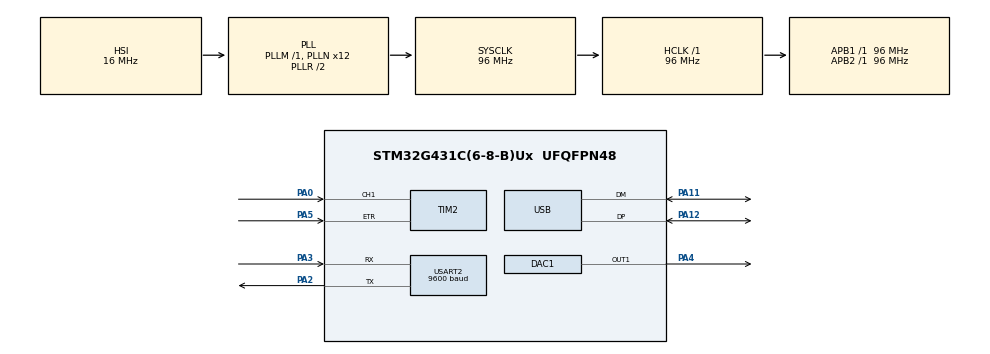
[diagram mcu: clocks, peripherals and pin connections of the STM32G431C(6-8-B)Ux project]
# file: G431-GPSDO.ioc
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Dma.Request0=USART2_RX
Dma.USART2_RX.0.Direction=DMA_PERIPH_TO_MEMORY
Dma.USART2_RX.0.EventEnable=DISABLE
Dma.USART2_RX.0.Instance=DMA1_Channel1
Dma.USART2_RX.0.MemDataAlignment=DMA_MDATAALIGN_BYTE
Dma.USART2_RX.0.MemInc=DMA_MINC_ENABLE
Dma.USART2_RX.0.Mode=DMA_CIRCULAR
Dma.USART2_RX.0.PeriphDataAlignment=DMA_PDATAALIGN_BYTE
Dma.USART2_RX.0.PeriphInc=DMA_PINC_DISABLE
Dma.USART2_RX.0.Polarity=HAL_DMAMUX_REQ_GEN_RISING
Dma.USART2_RX.0.Priority=DMA_PRIORITY_LOW
Dma.USART2_RX.0.RequestNumber=1
Dma.USART2_RX.0.SignalID=NONE
Dma.USART2_RX.0.SyncEnable=DISABLE
Dma.USART2_RX.0.SyncPolarity=HAL_DMAMUX_SYNC_NO_EVENT
Dma.USART2_RX.0.SyncRequestNumber=1
Dma.USART2_RX.0.SyncSignalID=NONE
Mcu.Family=STM32G4
Mcu.Name=STM32G431C(6-8-B)Ux
Mcu.Package=UFQFPN48
NVIC.DMA1_Channel1_IRQn=true\:0\:0\:false\:false\:true\:false\:true\:true
NVIC.PriorityGroup=NVIC_PRIORITYGROUP_4
NVIC.TIM2_IRQn=true\:0\:0\:false\:false\:true\:true\:true\:true
NVIC.USART2_IRQn=true\:0\:0\:false\:false\:true\:true\:true\:true
PA0.Signal=S_TIM2_CH1
PA11.Mode=Device
PA11.Signal=USB_DM
PA12.Mode=Device
PA12.Signal=USB_DP
PA13.Mode=Trace_Asynchronous_SW
PA13.Signal=SYS_JTMS-SWDIO
PA14.Mode=Trace_Asynchronous_SW
PA14.Signal=SYS_JTCK-SWCLK
PA2.Mode=Asynchronous
PA2.Signal=USART2_TX
PA3.Mode=Asynchronous
PA3.Signal=USART2_RX
PA4.Signal=COMP_DAC11_group
PA5.Signal=S_TIM2_ETR
PB3.Mode=Trace_Asynchronous_SW
PB3.Signal=SYS_JTDO-SWO
PF0-OSC_IN.Mode=HSE-External-Oscillator
PF0-OSC_IN.Signal=RCC_OSC_IN
PF1-OSC_OUT.Mode=HSE-External-Oscillator
PF1-OSC_OUT.Signal=RCC_OSC_OUT
ProjectManager.HeapSize=0x200
ProjectManager.StackSize=0x400
ProjectManager.TargetToolchain=STM32CubeIDE
RCC.ADC12Freq_Value=96000000
RCC.AHBFreq_Value=96000000
RCC.APB1Freq_Value=96000000
RCC.APB1TimFreq_Value=96000000
RCC.APB2Freq_Value=96000000
RCC.APB2TimFreq_Value=96000000
RCC.CK48CLockSelection=RCC_USBCLKSOURCE_HSI48
RCC.CortexFreq_Value=96000000
RCC.EXTERNAL_CLOCK_VALUE=12288000
RCC.HCLKFreq_Value=96000000
RCC.HSE_VALUE=8000000
RCC.HSI48_VALUE=48000000
RCC.HSI_VALUE=16000000
RCC.LSE_VALUE=32768
RCC.PLLN=12
RCC.SYSCLKFreq_VALUE=96000000
RCC.SYSCLKSource=RCC_SYSCLKSOURCE_PLLCLK
RCC.USBFreq_Value=48000000
RCC.VCOOutputFreq_Value=192000000
SH.COMP_DAC11_group.0=DAC1_OUT1,DAC_OUT1
SH.S_TIM2_CH1.0=TIM2_CH1,Input_Capture1_from_TI1
SH.S_TIM2_CH1.1=TIM2_CH1,TriggerSource_TI1FP1
SH.S_TIM2_ETR.0=TIM2_ETR,ClockSourceETR_Mode2
TIM2.Channel-Input_Capture1_from_TI1=TIM_CHANNEL_1
TIM2.ICPolarity_CH1=TIM_INPUTCHANNELPOLARITY_RISING
USART2.AutoBaudRateEnableParam=UART_ADVFEATURE_AUTOBAUDRATE_DISABLE
USART2.BaudRate=9600
USART2.VirtualMode-Asynchronous=VM_ASYNC
VP_TIM2_VS_ControllerModeReset.Mode=Reset Mode
board=custom

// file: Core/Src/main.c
/* USER CODE BEGIN Header */
/**
  ******************************************************************************
  * @file           : main.c
  * @brief          : Main program body
  ******************************************************************************
  * @attention
  *
  * Copyright (c) 2024 STMicroelectronics.
  * All rights reserved.
  *
  * This software is licensed under terms that can be found in the LICENSE file
  * in the root directory of this software component.
  * If no LICENSE file comes with this software, it is provided AS-IS.
  *
  ******************************************************************************
  */
/* USER CODE END Header */
#include "main.h"

/* USER CODE BEGIN PTD */
typedef struct {
    int hour;       // UTC hour
    int minute;     // UTC minute
    int second;     // UTC second
} UtcTime;

typedef struct {
    int numberOfSVs;  // Number of satellites
    float latitude;    // Latitude in decimal degrees
    float longitude;   // Longitude in decimal degrees
    float altitude;    // Altitude in meters
    UtcTime utcTime;   // Nested UTC time struct
    char fixQuality;   // Fix quality: 0 = invalid, 1 = GPS fix, 2 = DGPS fix, etc.
    char nsIndicator;  // North/South indicator (N/S)
    char ewIndicator;  // East/West indicator (E/W)
} GpsData;
/* USER CODE END PTD */

/* USER CODE BEGIN PD */
// Size of the DMA buffer for GPS sentences
#define GPS_RX_BUFFER_SIZE_RAW 1
// Size of the parse buffer for GPS sentences
#define GPS_RX_BUFFER_SIZE 128
// Size of the buffer where we store counter values from the 1PPS ticks
#define PPS_COUNTER_BUFFER_SIZE 600
/* USER CODE END PD */

DAC_HandleTypeDef hdac1;

TIM_HandleTypeDef htim2;

UART_HandleTypeDef huart2;
DMA_HandleTypeDef hdma_usart2_rx;

PCD_HandleTypeDef hpcd_USB_FS;

/* USER CODE BEGIN PV */
// GPS Parsed Data
volatile uint8_t gps_RxBuffer_Raw[GPS_RX_BUFFER_SIZE_RAW] = {0}; // Raw DMA buffer
volatile uint8_t gps_RxBuffer[GPS_RX_BUFFER_SIZE] = {0}; // Complete sentences
volatile size_t gpsRxSentenceLen = 0; // Length of the "current" sentence
GpsData gpsData = {0};
// Counter buffer
uint32_t counterValues[PPS_COUNTER_BUFFER_SIZE] = {0};
size_t counterValueWrite = 0;
size_t counterValueRead = 0;
/* USER CODE END PV */

void SystemClock_Config(void);
static void MX_GPIO_Init(void);
static void MX_DMA_Init(void);
static void MX_TIM2_Init(void);
static void MX_USART2_UART_Init(void);
static void MX_DAC1_Init(void);
static void MX_USB_PCD_Init(void);
/* USER CODE BEGIN PFP */
void processNMEA(void);
int _write(int file, char *ptr, int len);
/* USER CODE END PFP */

/* USER CODE BEGIN 0 */
#include <string.h>
#include <stdlib.h>
#include <stdio.h>

void processNMEA(void)
{
    if (!gpsRxSentenceLen || gpsRxSentenceLen >= sizeof(gps_RxBuffer)) {
        return; // Ensure there is data to process and it's within buffer limits
    }

    size_t len = gpsRxSentenceLen;
    gpsRxSentenceLen = 0;
    uint8_t *buffer = gps_RxBuffer;

    // Null-terminate the buffer for safe string operations
    buffer[len] = '\0';

    // Example parsing a GGA sentence: $GPGGA,123519,4807.038,N,01131.000,E,1,08,0.9,545.4,M,46.9,M,,*47
    if (strncmp((char *)buffer, "$GPGGA", 6) == 0) {

    	char *token;
        int fieldIndex = 0;

        token = strtok((char *)buffer, ",");
        while (token != NULL) {
            switch (fieldIndex) {
                case 1: { // UTC time
                    int utcTime = atoi(token);
                    if (utcTime >= 0 && utcTime < 240000) { // Validate HHMMSS range
                        gpsData.utcTime.hour = utcTime / 10000;
                        gpsData.utcTime.minute = (utcTime % 10000) / 100;
                        gpsData.utcTime.second = utcTime % 100;
                    }
                    break;
                }
                case 2: // Latitude
                    gpsData.latitude = atof(token) / 100.0; // Convert to decimal degrees
                    break;
                case 3: // N/S indicator
                    if (token[0] == 'N' || token[0] == 'S') {
                        gpsData.nsIndicator = token[0];
                    }
                    break;
                case 4: // Longitude
                    gpsData.longitude = atof(token) / 100.0; // Convert to decimal degrees
                    break;
                case 5: // E/W indicator
                    if (token[0] == 'E' || token[0] == 'W') {
                        gpsData.ewIndicator = token[0];
                    }
                    break;
                case 6: // Fix quality
                    if (token[0] >= '0' && token[0] <= '9') {
                        gpsData.fixQuality = token[0];
                    }
                    break;
                case 7: // Number of satellites
                    gpsData.numberOfSVs = atoi(token);
                    if (gpsData.numberOfSVs < 0) {
                        gpsData.numberOfSVs = 0; // Set to zero if negative
                    }
                    break;
                case 9: // Altitude
                    gpsData.altitude = atof(token);
                    break;
            }
            fieldIndex++;
            token = strtok(NULL, ",");
        }

        // Handle N/S and E/W indicators
        if (gpsData.nsIndicator == 'S') {
            gpsData.latitude = -gpsData.latitude;
        }
        if (gpsData.ewIndicator == 'W') {
            gpsData.longitude = -gpsData.longitude;
        }

        // gpsData now holds the parsed information
    }
}

/* USER CODE END 0 */

int main(void)
{

  /* MCU Configuration--------------------------------------------------------*/

  /* Reset of all peripherals, Initializes the Flash interface and the Systick. */
  HAL_Init();

  /* Configure the system clock */
  SystemClock_Config();

  /* Initialize all configured peripherals */
  MX_GPIO_Init();
  MX_DMA_Init();
  MX_TIM2_Init();
  MX_USART2_UART_Init();
  MX_DAC1_Init();
  MX_USB_PCD_Init();
  /* USER CODE BEGIN 2 */
  // Start the input compare on timer 1; clock source is our 10MHz, the input compare is our 1PPS
  HAL_TIM_IC_Start_IT(&htim2, TIM_CHANNEL_1);
  HAL_UARTEx_ReceiveToIdle_DMA(&huart2, gps_RxBuffer_Raw, GPS_RX_BUFFER_SIZE_RAW);

  //disable half transfer interrupt; it is enabled in HAL_UARTEx_ReceiveToIdle_DMA()
  __HAL_DMA_DISABLE_IT(huart2.hdmarx, DMA_IT_HT);
  /* USER CODE END 2 */

  /* Infinite loop */
  while (1)
  {

    /* USER CODE BEGIN 3 */
	  processNMEA();
	  if (counterValueRead != counterValueWrite) {
		  printf("C@%d: %d\n", HAL_GetTick(), counterValues[counterValueRead]);
		  counterValueRead = (counterValueRead + 1) % PPS_COUNTER_BUFFER_SIZE;
	  }
  }
  /* USER CODE END 3 */
}

void SystemClock_Config(void)
{
  RCC_OscInitTypeDef RCC_OscInitStruct = {0};
  RCC_ClkInitTypeDef RCC_ClkInitStruct = {0};

  /** Configure the main internal regulator output voltage
  */
  HAL_PWREx_ControlVoltageScaling(PWR_REGULATOR_VOLTAGE_SCALE1);

  /** Initializes the RCC Oscillators according to the specified parameters
  * in the RCC_OscInitTypeDef structure.
  */
  RCC_OscInitStruct.OscillatorType = RCC_OSCILLATORTYPE_HSI|RCC_OSCILLATORTYPE_HSI48;
  RCC_OscInitStruct.HSIState = RCC_HSI_ON;
  RCC_OscInitStruct.HSICalibrationValue = RCC_HSICALIBRATION_DEFAULT;
  RCC_OscInitStruct.HSI48State = RCC_HSI48_ON;
  RCC_OscInitStruct.PLL.PLLState = RCC_PLL_ON;
  RCC_OscInitStruct.PLL.PLLSource = RCC_PLLSOURCE_HSI;
  RCC_OscInitStruct.PLL.PLLM = RCC_PLLM_DIV1;
  RCC_OscInitStruct.PLL.PLLN = 12;
  RCC_OscInitStruct.PLL.PLLP = RCC_PLLP_DIV2;
  RCC_OscInitStruct.PLL.PLLQ = RCC_PLLQ_DIV2;
  RCC_OscInitStruct.PLL.PLLR = RCC_PLLR_DIV2;
  if (HAL_RCC_OscConfig(&RCC_OscInitStruct) != HAL_OK)
  {
    Error_Handler();
  }

  /** Initializes the CPU, AHB and APB buses clocks
  */
  RCC_ClkInitStruct.ClockType = RCC_CLOCKTYPE_HCLK|RCC_CLOCKTYPE_SYSCLK
                              |RCC_CLOCKTYPE_PCLK1|RCC_CLOCKTYPE_PCLK2;
  RCC_ClkInitStruct.SYSCLKSource = RCC_SYSCLKSOURCE_PLLCLK;
  RCC_ClkInitStruct.AHBCLKDivider = RCC_SYSCLK_DIV1;
  RCC_ClkInitStruct.APB1CLKDivider = RCC_HCLK_DIV1;
  RCC_ClkInitStruct.APB2CLKDivider = RCC_HCLK_DIV1;

  if (HAL_RCC_ClockConfig(&RCC_ClkInitStruct, FLASH_LATENCY_3) != HAL_OK)
  {
    Error_Handler();
  }
}

static void MX_DAC1_Init(void)
{

  DAC_ChannelConfTypeDef sConfig = {0};

  /** DAC Initialization
  */
  hdac1.Instance = DAC1;
  if (HAL_DAC_Init(&hdac1) != HAL_OK)
  {
    Error_Handler();
  }

  /** DAC channel OUT1 config
  */
  sConfig.DAC_HighFrequency = DAC_HIGH_FREQUENCY_INTERFACE_MODE_AUTOMATIC;
  sConfig.DAC_DMADoubleDataMode = DISABLE;
  sConfig.DAC_SignedFormat = DISABLE;
  sConfig.DAC_SampleAndHold = DAC_SAMPLEANDHOLD_DISABLE;
  sConfig.DAC_Trigger = DAC_TRIGGER_NONE;
  sConfig.DAC_Trigger2 = DAC_TRIGGER_NONE;
  sConfig.DAC_OutputBuffer = DAC_OUTPUTBUFFER_ENABLE;
  sConfig.DAC_ConnectOnChipPeripheral = DAC_CHIPCONNECT_EXTERNAL;
  sConfig.DAC_UserTrimming = DAC_TRIMMING_FACTORY;
  if (HAL_DAC_ConfigChannel(&hdac1, &sConfig, DAC_CHANNEL_1) != HAL_OK)
  {
    Error_Handler();
  }

}

static void MX_TIM2_Init(void)
{

  TIM_ClockConfigTypeDef sClockSourceConfig = {0};
  TIM_SlaveConfigTypeDef sSlaveConfig = {0};
  TIM_MasterConfigTypeDef sMasterConfig = {0};
  TIM_IC_InitTypeDef sConfigIC = {0};

  htim2.Instance = TIM2;
  htim2.Init.Prescaler = 0;
  htim2.Init.CounterMode = TIM_COUNTERMODE_UP;
  htim2.Init.Period = 4.294967295E9;
  htim2.Init.ClockDivision = TIM_CLOCKDIVISION_DIV1;
  htim2.Init.AutoReloadPreload = TIM_AUTORELOAD_PRELOAD_DISABLE;
  if (HAL_TIM_Base_Init(&htim2) != HAL_OK)
  {
    Error_Handler();
  }
  sClockSourceConfig.ClockSource = TIM_CLOCKSOURCE_ETRMODE2;
  sClockSourceConfig.ClockPolarity = TIM_CLOCKPOLARITY_NONINVERTED;
  sClockSourceConfig.ClockPrescaler = TIM_CLOCKPRESCALER_DIV1;
  sClockSourceConfig.ClockFilter = 0;
  if (HAL_TIM_ConfigClockSource(&htim2, &sClockSourceConfig) != HAL_OK)
  {
    Error_Handler();
  }
  if (HAL_TIM_IC_Init(&htim2) != HAL_OK)
  {
    Error_Handler();
  }
  sSlaveConfig.SlaveMode = TIM_SLAVEMODE_RESET;
  sSlaveConfig.InputTrigger = TIM_TS_TI1FP1;
  sSlaveConfig.TriggerPolarity = TIM_INPUTCHANNELPOLARITY_RISING;
  sSlaveConfig.TriggerFilter = 0;
  if (HAL_TIM_SlaveConfigSynchro(&htim2, &sSlaveConfig) != HAL_OK)
  {
    Error_Handler();
  }
  sMasterConfig.MasterOutputTrigger = TIM_TRGO_RESET;
  sMasterConfig.MasterSlaveMode = TIM_MASTERSLAVEMODE_DISABLE;
  if (HAL_TIMEx_MasterConfigSynchronization(&htim2, &sMasterConfig) != HAL_OK)
  {
    Error_Handler();
  }
  sConfigIC.ICPolarity = TIM_INPUTCHANNELPOLARITY_RISING;
  sConfigIC.ICSelection = TIM_ICSELECTION_DIRECTTI;
  sConfigIC.ICPrescaler = TIM_ICPSC_DIV1;
  sConfigIC.ICFilter = 0;
  if (HAL_TIM_IC_ConfigChannel(&htim2, &sConfigIC, TIM_CHANNEL_1) != HAL_OK)
  {
    Error_Handler();
  }

}

static void MX_USART2_UART_Init(void)
{

  huart2.Instance = USART2;
  huart2.Init.BaudRate = 9600;
  huart2.Init.WordLength = UART_WORDLENGTH_8B;
  huart2.Init.StopBits = UART_STOPBITS_1;
  huart2.Init.Parity = UART_PARITY_NONE;
  huart2.Init.Mode = UART_MODE_TX_RX;
  huart2.Init.HwFlowCtl = UART_HWCONTROL_NONE;
  huart2.Init.OverSampling = UART_OVERSAMPLING_16;
  huart2.Init.OneBitSampling = UART_ONE_BIT_SAMPLE_DISABLE;
  huart2.Init.ClockPrescaler = UART_PRESCALER_DIV1;
  huart2.AdvancedInit.AdvFeatureInit = UART_ADVFEATURE_NO_INIT;
  if (HAL_UART_Init(&huart2) != HAL_OK)
  {
    Error_Handler();
  }
  if (HAL_UARTEx_SetTxFifoThreshold(&huart2, UART_TXFIFO_THRESHOLD_1_8) != HAL_OK)
  {
    Error_Handler();
  }
  if (HAL_UARTEx_SetRxFifoThreshold(&huart2, UART_RXFIFO_THRESHOLD_1_8) != HAL_OK)
  {
    Error_Handler();
  }
  if (HAL_UARTEx_DisableFifoMode(&huart2) != HAL_OK)
  {
    Error_Handler();
  }

}

static void MX_USB_PCD_Init(void)
{

  hpcd_USB_FS.Instance = USB;
  hpcd_USB_FS.Init.dev_endpoints = 8;
  hpcd_USB_FS.Init.speed = PCD_SPEED_FULL;
  hpcd_USB_FS.Init.phy_itface = PCD_PHY_EMBEDDED;
  hpcd_USB_FS.Init.Sof_enable = DISABLE;
  hpcd_USB_FS.Init.low_power_enable = DISABLE;
  hpcd_USB_FS.Init.lpm_enable = DISABLE;
  hpcd_USB_FS.Init.battery_charging_enable = DISABLE;
  if (HAL_PCD_Init(&hpcd_USB_FS) != HAL_OK)
  {
    Error_Handler();
  }

}

static void MX_DMA_Init(void)
{

  /* DMA controller clock enable */
  __HAL_RCC_DMAMUX1_CLK_ENABLE();
  __HAL_RCC_DMA1_CLK_ENABLE();

  /* DMA interrupt init */
  /* DMA1_Channel1_IRQn interrupt configuration */
  HAL_NVIC_SetPriority(DMA1_Channel1_IRQn, 0, 0);
  HAL_NVIC_EnableIRQ(DMA1_Channel1_IRQn);

}

static void MX_GPIO_Init(void)
{

  /* GPIO Ports Clock Enable */
  __HAL_RCC_GPIOF_CLK_ENABLE();
  __HAL_RCC_GPIOA_CLK_ENABLE();
  __HAL_RCC_GPIOB_CLK_ENABLE();

}

/* USER CODE BEGIN 4 */
//static unsigned long ITM_SendChar (unsigned long ch)
//{
//  if (((ITM->TCR & ITM_TCR_ITMENA_Msk) != 0UL) &&      /* ITM enabled */
//      ((ITM->TER & 1UL               ) != 0UL)   )     /* ITM Port #0 enabled */
//  {
//    while (ITM->PORT[0U].u32 == 0UL)
//    {
//      __asm("nop");
//    }
//    ITM->PORT[0U].u8 = (uint8_t)ch;
//  }
//  return (ch);
//}

int _write(int file, char *ptr, int len)
{
    //return usart_write(platform_get_console(), (u8 *)ptr, len);
      int i=0;
      for(i=0 ; i<len ; i++)
        ITM_SendChar((*ptr++));
      return len;
}

void HAL_TIM_IC_CaptureCallback(TIM_HandleTypeDef *htim) {
    if (htim == &htim2 && htim->Channel == HAL_TIM_ACTIVE_CHANNEL_1) {
        uint32_t captureValue = HAL_TIM_ReadCapturedValue(htim, TIM_CHANNEL_1);
        // Store the captured value in the circular buffer
		counterValues[counterValueWrite] = captureValue;
		// Increment the write index and wrap it around if necessary
		counterValueWrite = (counterValueWrite + 1) % PPS_COUNTER_BUFFER_SIZE;
    }
}
void HAL_UARTEx_RxEventCallback(UART_HandleTypeDef* huart, uint16_t Size)
{
//    printf("UART received: %hu byte(s)\n", Size);
//    printf("%.*s\n\n", Size, gps_RxBuffer_Raw);
	static size_t commandIndex = GPS_RX_BUFFER_SIZE;
	for (int i = 0; i < Size; i++) {
		uint8_t b = gps_RxBuffer_Raw[i];
		if (b == '$') {
			commandIndex = 0;
		}
		if (commandIndex < GPS_RX_BUFFER_SIZE - 1) {
			gps_RxBuffer[commandIndex++] = b;
		}
		if (b == '\n') {
			gpsRxSentenceLen = commandIndex;
			break; // TODO: short sequence commands will break here
		}
	}

    HAL_UARTEx_ReceiveToIdle_DMA(&huart2, gps_RxBuffer_Raw, GPS_RX_BUFFER_SIZE_RAW);

    //disable half transfer interrupt; it is enabled in HAL_UARTEx_ReceiveToIdle_DMA()
    __HAL_DMA_DISABLE_IT(huart2.hdmarx, DMA_IT_HT);
}
/* USER CODE END 4 */

void Error_Handler(void)
{
  __disable_irq();
  while (1)
  {
  }
}
